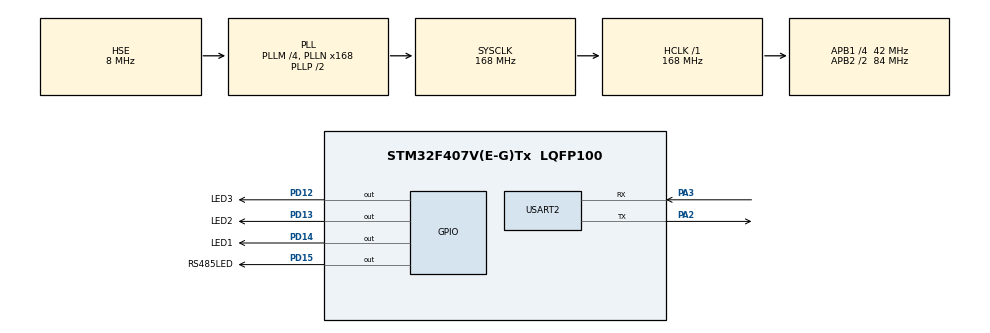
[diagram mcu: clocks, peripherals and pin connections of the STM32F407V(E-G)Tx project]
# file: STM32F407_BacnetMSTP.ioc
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Dma.Request0=USART2_RX
Dma.Request1=USART2_TX
Dma.USART2_RX.0.Direction=DMA_PERIPH_TO_MEMORY
Dma.USART2_RX.0.FIFOMode=DMA_FIFOMODE_DISABLE
Dma.USART2_RX.0.Instance=DMA1_Stream5
Dma.USART2_RX.0.MemDataAlignment=DMA_MDATAALIGN_BYTE
Dma.USART2_RX.0.MemInc=DMA_MINC_ENABLE
Dma.USART2_RX.0.Mode=DMA_NORMAL
Dma.USART2_RX.0.PeriphDataAlignment=DMA_PDATAALIGN_BYTE
Dma.USART2_RX.0.PeriphInc=DMA_PINC_DISABLE
Dma.USART2_RX.0.Priority=DMA_PRIORITY_HIGH
Dma.USART2_TX.1.Direction=DMA_MEMORY_TO_PERIPH
Dma.USART2_TX.1.FIFOMode=DMA_FIFOMODE_DISABLE
Dma.USART2_TX.1.Instance=DMA1_Stream6
Dma.USART2_TX.1.MemDataAlignment=DMA_MDATAALIGN_BYTE
Dma.USART2_TX.1.MemInc=DMA_MINC_ENABLE
Dma.USART2_TX.1.Mode=DMA_NORMAL
Dma.USART2_TX.1.PeriphDataAlignment=DMA_PDATAALIGN_BYTE
Dma.USART2_TX.1.PeriphInc=DMA_PINC_DISABLE
Dma.USART2_TX.1.Priority=DMA_PRIORITY_HIGH
Mcu.Family=STM32F4
Mcu.Name=STM32F407V(E-G)Tx
Mcu.Package=LQFP100
NVIC.DMA1_Stream5_IRQn=true\:0\:0\:false\:false\:true\:false\:true\:true
NVIC.DMA1_Stream6_IRQn=true\:0\:0\:false\:false\:true\:false\:true\:true
NVIC.PriorityGroup=NVIC_PRIORITYGROUP_4
NVIC.USART2_IRQn=true\:0\:0\:false\:false\:true\:true\:true\:true
PA2.Mode=Asynchronous
PA2.Signal=USART2_TX
PA3.Mode=Asynchronous
PA3.Signal=USART2_RX
PD12.GPIO_Label=LED3
PD12.Signal=GPIO_Output
PD13.GPIO_Label=LED2
PD13.Signal=GPIO_Output
PD14.GPIO_Label=LED1
PD14.Signal=GPIO_Output
PD15.GPIO_Label=RS485LED
PD15.Signal=GPIO_Output
PH0-OSC_IN.Mode=HSE-External-Oscillator
PH0-OSC_IN.Signal=RCC_OSC_IN
PH1-OSC_OUT.Mode=HSE-External-Oscillator
PH1-OSC_OUT.Signal=RCC_OSC_OUT
ProjectManager.HeapSize=0x200
ProjectManager.StackSize=0x400
ProjectManager.TargetToolchain=STM32CubeIDE
RCC.48MHZClocksFreq_Value=48000000
RCC.AHBFreq_Value=168000000
RCC.APB1CLKDivider=RCC_HCLK_DIV4
RCC.APB1Freq_Value=42000000
RCC.APB1TimFreq_Value=84000000
RCC.APB2CLKDivider=RCC_HCLK_DIV2
RCC.APB2Freq_Value=84000000
RCC.APB2TimFreq_Value=168000000
RCC.CortexFreq_Value=168000000
RCC.HCLKFreq_Value=168000000
RCC.HSE_VALUE=8000000
RCC.HSI_VALUE=16000000
RCC.LSE_VALUE=32768
RCC.PLLM=4
RCC.PLLN=168
RCC.PLLQ=7
RCC.PLLSourceVirtual=RCC_PLLSOURCE_HSE
RCC.SYSCLKFreq_VALUE=168000000
RCC.SYSCLKSource=RCC_SYSCLKSOURCE_PLLCLK
RCC.VCOOutputFreq_Value=336000000
USART2.VirtualMode=VM_ASYNC
VP_RNG_VS_RNG.Mode=RNG_Activate
board=custom

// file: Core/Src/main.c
/* USER CODE BEGIN Header */
/**
  ******************************************************************************
  * @file           : main.c
  * @brief          : Main program body
  ******************************************************************************
  * @attention
  *
  * Copyright (c) 2025 STMicroelectronics.
  * All rights reserved.
  *
  * This software is licensed under terms that can be found in the LICENSE file
  * in the root directory of this software component.
  * If no LICENSE file comes with this software, it is provided AS-IS.
  *
  ******************************************************************************
  */
/* USER CODE END Header */
#include "main.h"
#include "dma.h"
#include "rng.h"
#include "usart.h"
#include "gpio.h"

/* USER CODE BEGIN Includes */
#include <stdbool.h>
#include <stdint.h>
#include <stdlib.h>
#include "bacnet/basic/object/device.h"
#include "bacnet/basic/sys/mstimer.h"
#include "bacnet/basic/sys/fifo.h"
#include "bacnet/basic/sys/ringbuf.h"
#include "bacnet/datalink/datalink.h"
#include "bacnet/datalink/dlmstp.h"
#include "bacnet/datalink/mstp.h"
#include "rs485.h"
#include "led.h"
#include "bacnet.h"

/* USER CODE END Includes */

/* USER CODE BEGIN PD */
//#define MAX_MPDU 384

// Limit BACnet objects/devices
#define MAX_BACNET_DEVICES 5      // Default might be 128+
#define MAX_BACNET_OBJECTS 20     // Reduce if unused

#define BACDL_MSTP	1

// Disable unused services/features
#define BACNET_TIME_MASTER 0
#define BACNET_BINARY_INPUTS 0
#define BACNET_BINARY_OUTPUTS 0   // If you don’t need Binary Outputs
/* USER CODE END PD */

/* USER CODE BEGIN PV */
uint32_t Object_Instance_Number = 10;
struct mstimer Blink_Timer;
#define FIFO_SIZE DLMSTP_MPDU_MAX
uint8_t buffer[FIFO_SIZE];
char *BACnet_Version = "1.0";
FIFO_BUFFER fifo;
/* MS/TP port */
/* MS/TP port */
static struct mstp_port_struct_t MSTP_Port;
static struct dlmstp_rs485_driver RS485_Driver = {
    .init = rs485_init,
    .send = rs485_bytes_send,
    .read = rs485_byte_available,
    .transmitting = rs485_rts_enabled,
    .baud_rate = rs485_baud_rate,
    .baud_rate_set = rs485_baud_rate_set,
    .silence_milliseconds = rs485_silence_milliseconds,
    .silence_reset = rs485_silence_reset
};
static struct dlmstp_user_data_t MSTP_User_Data;
static uint8_t Input_Buffer[DLMSTP_MPDU_MAX];
static uint8_t Output_Buffer[DLMSTP_MPDU_MAX];

int __io_putchar(int ch)
{
    (void)ch;
    return 0;
}

static void mstp_configure(void)
{
    /* initialize MSTP datalink layer */
    MSTP_Port.Nmax_info_frames = DLMSTP_MAX_INFO_FRAMES;
    MSTP_Port.Nmax_master = DLMSTP_MAX_MASTER;
    MSTP_Port.InputBuffer = Input_Buffer;
    MSTP_Port.InputBufferSize = sizeof(Input_Buffer);
    MSTP_Port.OutputBuffer = Output_Buffer;
    MSTP_Port.OutputBufferSize = sizeof(Output_Buffer);
    /* user data */
    MSTP_Port.ZeroConfigEnabled = true;
    MSTP_Port.SlaveNodeEnabled = false;
    MSTP_Port.CheckAutoBaud = false;
    MSTP_Zero_Config_UUID_Init(&MSTP_Port);
    MSTP_User_Data.RS485_Driver = &RS485_Driver;
    MSTP_Port.UserData = &MSTP_User_Data;
    dlmstp_init((char *)&MSTP_Port);
    if (MSTP_Port.ZeroConfigEnabled) {
        dlmstp_set_mac_address(127);
    } else {
        /* FIXME: get the address from hardware DIP or from EEPROM */
        dlmstp_set_mac_address(1);
    }
    /* FIXME: get the baud rate from hardware DIP or from EEPROM */
    dlmstp_set_baud_rate(DLMSTP_BAUD_RATE_DEFAULT);
}
/* USER CODE END PV */

void SystemClock_Config(void);

int main(void)
{

  /* MCU Configuration--------------------------------------------------------*/

  /* Reset of all peripherals, Initializes the Flash interface and the Systick. */
  HAL_Init();

  /* Configure the system clock */
  SystemClock_Config();

  /* Initialize all configured peripherals */
  MX_GPIO_Init();
  MX_DMA_Init();
  MX_USART2_UART_Init();
  MX_RNG_Init();
  /* USER CODE BEGIN 2 */
  mstimer_init();
  led_init();
  Device_Set_Object_Instance_Number(103);
  mstimer_set(&Blink_Timer, 500);

  srand(Device_Object_Instance_Number());
  Device_UUID_Init();
  Device_UUID_Get(MSTP_Port.UUID, sizeof(MSTP_Port.UUID));
  /* initialize MSTP datalink layer */
  MSTP_Port.Nmax_info_frames = DLMSTP_MAX_INFO_FRAMES;
  MSTP_Port.Nmax_master = DLMSTP_MAX_MASTER;
  MSTP_Port.InputBuffer = Input_Buffer;
  MSTP_Port.InputBufferSize = sizeof(Input_Buffer);
  MSTP_Port.OutputBuffer = Output_Buffer;
  MSTP_Port.OutputBufferSize = sizeof(Output_Buffer);
  /* choose from non-volatile configuration for zero-config or slave mode */
  MSTP_Port.ZeroConfigEnabled = true;
  MSTP_Port.Zero_Config_Preferred_Station = 0;
  MSTP_Port.SlaveNodeEnabled = false;
  MSTP_Port.CheckAutoBaud = true;
  /* user data */
  MSTP_User_Data.RS485_Driver = &RS485_Driver;
  MSTP_Port.UserData = &MSTP_User_Data;
//  for(;;){
//	  printf("Test Bacnet\r\n");
//	  HAL_Delay(500);
//  }
  rs485_init();
  mstp_configure();
  dlmstp_init((char *)&MSTP_Port);
  if (MSTP_Port.ZeroConfigEnabled) {
      /* set node to monitor address */
      dlmstp_set_mac_address(103);
  } else {
      /* FIXME: get the address from hardware DIP or from EEPROM */
      dlmstp_set_mac_address(1);
  }
  if (!MSTP_Port.CheckAutoBaud) {
      /* FIXME: get the baud rate from hardware DIP or from EEPROM */
      dlmstp_set_baud_rate(DLMSTP_BAUD_RATE_DEFAULT);
  }
  /* initialize application layer*/
 bacnet_init();

  /* USER CODE END 2 */

  /* Infinite loop */
  while (1)
  {

    /* USER CODE BEGIN 3 */
      if (mstimer_expired(&Blink_Timer)) {
          mstimer_reset(&Blink_Timer);
          led_toggle(LED_LD1);
           led_toggle(LED_LD2);

      }
      led_task();
      bacnet_task();
      HAL_UART_Receive_DMA(&huart2, &UartDMABuffer, 1);

  }
  /* USER CODE END 3 */
}

void SystemClock_Config(void)
{
  RCC_OscInitTypeDef RCC_OscInitStruct = {0};
  RCC_ClkInitTypeDef RCC_ClkInitStruct = {0};

  /** Configure the main internal regulator output voltage
  */
  __HAL_RCC_PWR_CLK_ENABLE();
  __HAL_PWR_VOLTAGESCALING_CONFIG(PWR_REGULATOR_VOLTAGE_SCALE1);

  /** Initializes the RCC Oscillators according to the specified parameters
  * in the RCC_OscInitTypeDef structure.
  */
  RCC_OscInitStruct.OscillatorType = RCC_OSCILLATORTYPE_HSE;
  RCC_OscInitStruct.HSEState = RCC_HSE_ON;
  RCC_OscInitStruct.PLL.PLLState = RCC_PLL_ON;
  RCC_OscInitStruct.PLL.PLLSource = RCC_PLLSOURCE_HSE;
  RCC_OscInitStruct.PLL.PLLM = 4;
  RCC_OscInitStruct.PLL.PLLN = 168;
  RCC_OscInitStruct.PLL.PLLP = RCC_PLLP_DIV2;
  RCC_OscInitStruct.PLL.PLLQ = 7;
  if (HAL_RCC_OscConfig(&RCC_OscInitStruct) != HAL_OK)
  {
    Error_Handler();
  }

  /** Initializes the CPU, AHB and APB buses clocks
  */
  RCC_ClkInitStruct.ClockType = RCC_CLOCKTYPE_HCLK|RCC_CLOCKTYPE_SYSCLK
                              |RCC_CLOCKTYPE_PCLK1|RCC_CLOCKTYPE_PCLK2;
  RCC_ClkInitStruct.SYSCLKSource = RCC_SYSCLKSOURCE_PLLCLK;
  RCC_ClkInitStruct.AHBCLKDivider = RCC_SYSCLK_DIV1;
  RCC_ClkInitStruct.APB1CLKDivider = RCC_HCLK_DIV4;
  RCC_ClkInitStruct.APB2CLKDivider = RCC_HCLK_DIV2;

  if (HAL_RCC_ClockConfig(&RCC_ClkInitStruct, FLASH_LATENCY_5) != HAL_OK)
  {
    Error_Handler();
  }
}

void Error_Handler(void)
{
  __disable_irq();
  while (1)
  {
  }
}
